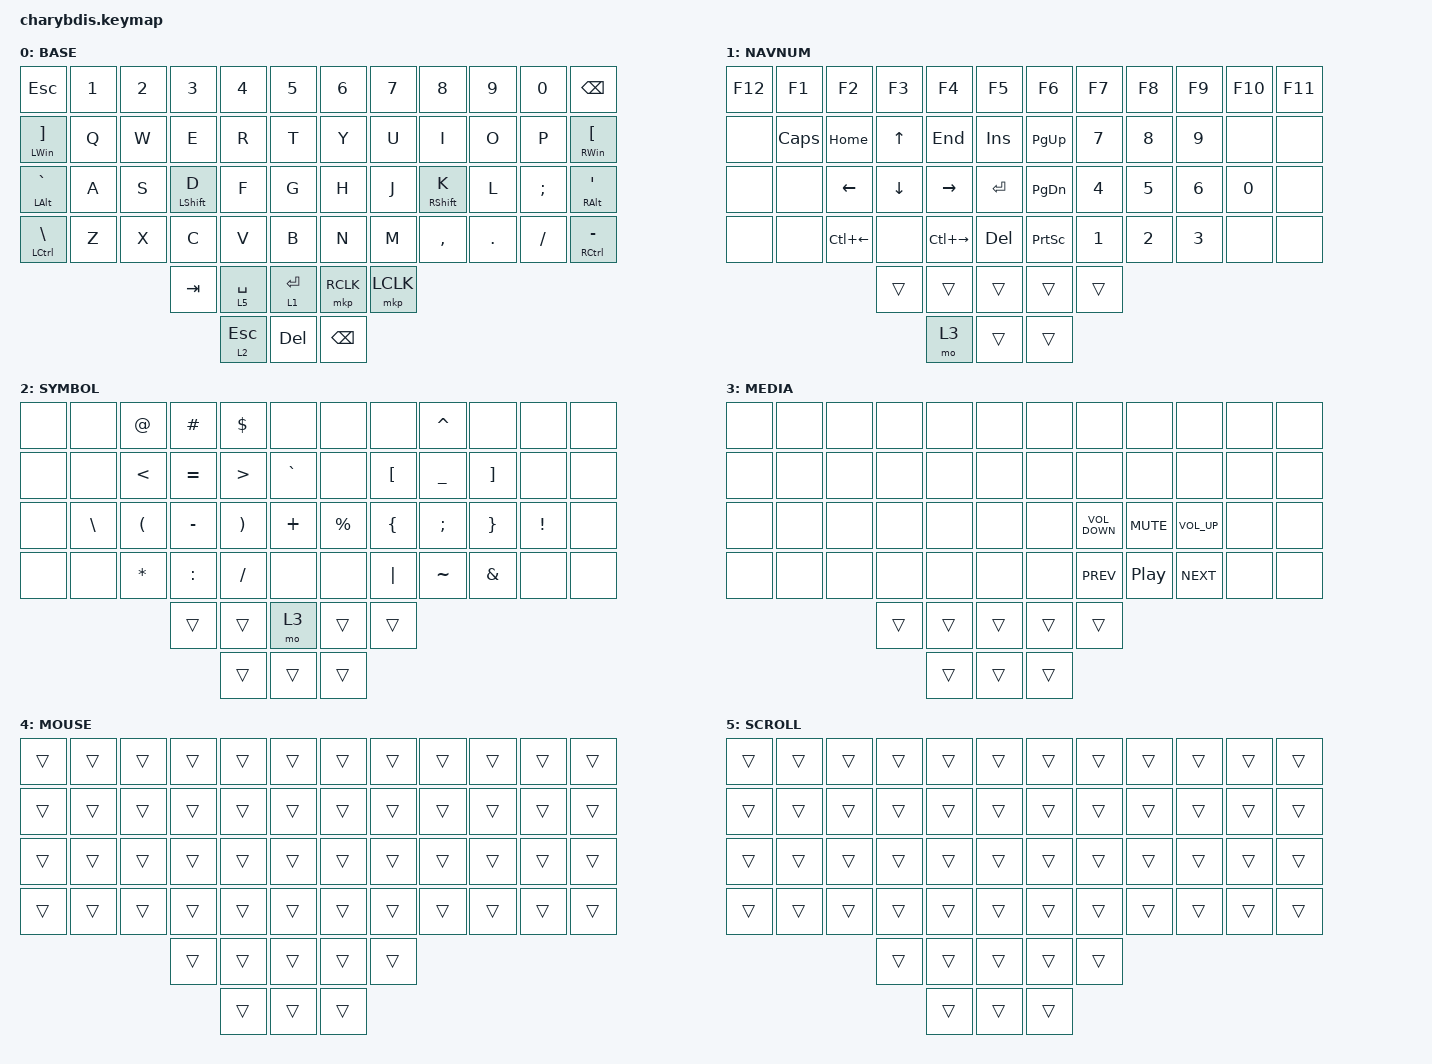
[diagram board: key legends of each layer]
#include <behaviors.dtsi>
#include <dt-bindings/zmk/keys.h>
#include <dt-bindings/zmk/pointing.h>

#define BASE 0
#define NAVNUM 1
#define SYMBOL 2
#define MEDIA 3
#define MOUSE 4
#define SCROLL 5
#define KEYS_L 0 1 2 3 4 10 11 12 13 14 20 21 22 23 24
#define KEYS_R 5 6 7 8 9 15 16 17 18 19 25 26 27 28 29
#define THUMBS 30 31 32 33 34 35
#define U_TAPPING_TERM 200

&sk {
    release-after-ms = <600>;
    quick-release;
};

&sl { ignore-modifiers; };

&mt { flavor = "tap-preferred"; };

&lt {
    flavor = "balanced";
    tapping-term-ms = <200>;
    quick-tap-ms = <175>;
};

&caps_word { /delete-property/ ignore-modifiers; };

/ {
    behaviors {
        u_mt: u_mt {
            compatible = "zmk,behavior-hold-tap";
            label = "u_mt";
            #binding-cells = <2>;
            tapping_term_ms = <U_TAPPING_TERM>;
            flavor = "tap-preferred";
            bindings = <&kp>, <&kp>;
        };

        u_lt: u_lt {
            compatible = "zmk,behavior-hold-tap";
            label = "u_lt";
            #binding-cells = <2>;
            tapping_term_ms = <U_TAPPING_TERM>;
            flavor = "tap-preferred";
            bindings = <&mo>, <&kp>;
        };

        Shift_Enter: Shift_Enter {
            compatible = "zmk,behavior-hold-tap";
            label = "SHIFT_ENTER";
            bindings = <&kp>, <&kp>;

            #binding-cells = <2>;
            hold-trigger-key-positions = <40>;
            tapping-term-ms = <100>;
        };

        hml: hml {
            compatible = "zmk,behavior-hold-tap";
            #binding-cells = <2>;
            flavor = "balanced";
            tapping-term-ms = <2000>;
            quick-tap-ms = <175>;
            require-prior-idle-ms = <250>;
            hold-trigger-key-positions = <KEYS_R THUMBS>;
            hold-trigger-on-release;
            bindings = <&kp>, <&kp>;
        };

        hmr: hmr {
            compatible = "zmk,behavior-hold-tap";
            #binding-cells = <2>;
            flavor = "balanced";
            tapping-term-ms = <2000>;
            quick-tap-ms = <175>;
            require-prior-idle-ms = <250>;
            hold-trigger-key-positions = <KEYS_L THUMBS>;
            hold-trigger-on-release;
            bindings = <&kp>, <&kp>;
        };

        smart_shift: smart_shift {
            compatible = "zmk,behavior-mod-morph";
            #binding-cells = <0>;
            bindings = <&sk LSHIFT>, <&caps_word>;

            mods = <(MOD_LSFT)>;
        };

        u_ltm: u_ltm {
            compatible = "zmk,behavior-hold-tap";
            label = "U_LTM";
            #binding-cells = <2>;
            tapping_term_ms = <U_TAPPING_TERM>;
            flavor = "tap-preferred";
            bindings = <&mo>, <&mkp>;
        };
    };

    combos {
        compatible = "zmk,combos";

        ParaLeft {
            bindings = <&kp LEFT_PARENTHESIS>;
            key-positions = <4 16>;
        };

        ParaRight {
            bindings = <&kp RIGHT_PARENTHESIS>;
            key-positions = <7 19>;
        };

        BrakLeft {
            bindings = <&kp LEFT_BRACKET>;
            key-positions = <3 15>;
        };

        BrakRight {
            bindings = <&kp RIGHT_BRACKET>;
            key-positions = <8 20>;
        };

        BraceLeft {
            bindings = <&kp LEFT_BRACE>;
            key-positions = <2 14>;
        };

        BraceRight {
            bindings = <&kp RIGHT_BRACE>;
            key-positions = <9 21>;
        };

        CapsWord {
            bindings = <&caps_word>;
            key-positions = <27 28 31 32>;
        };

        MiddleClick {
            bindings = <&mkp MCLK>;
            key-positions = <50 51>;
        };
    };

    chosen { zmk,physical-layout = &charybdis_6col_layout; };

    keymap {
        compatible = "zmk,keymap";

        BASE {
            display-name = "BASE";
            bindings = <
&kp ESC                      &kp NUMBER_1  &kp N2  &kp N3             &kp N4          &kp N5           &kp N6         &kp N7     &kp N8              &kp N9   &kp N0    &kp BACKSPACE
&hml LEFT_WIN RIGHT_BRACKET  &kp Q         &kp W   &kp E              &kp R           &kp T            &kp Y          &kp U      &kp I               &kp O    &kp P     &hmr RIGHT_WIN LEFT_BRACKET
&hmr LEFT_ALT GRAVE          &kp A         &kp S   &hml LEFT_SHIFT D  &kp F           &kp G            &kp H          &kp J      &hmr RIGHT_SHIFT K  &kp L    &kp SEMI  &hmr RIGHT_ALT SINGLE_QUOTE
&hml LCTRL BACKSLASH         &kp Z         &kp X   &kp C              &kp V           &kp B            &kp N          &kp M      &kp COMMA           &kp DOT  &kp FSLH  &hmr RCTRL MINUS
                                                   &kp TAB            &u_lt 5 SPACE   &u_lt 1 ENTER    &mkp RCLK      &mkp LCLK
                                                                      &u_lt 2 ESCAPE  &kp DELETE       &kp BACKSPACE
            >;
        };

        NAVNUM {
            display-name = "NAVNUM";
            bindings = <
&kp F12  &kp F1        &kp F2        &kp F3    &kp F4         &kp F5        &kp F6           &kp F7        &kp F8        &kp F9        &kp F10       &kp F11
&none    &kp CAPSLOCK  &kp HOME      &kp UP    &kp END        &kp INSERT    &kp PAGE_UP      &kp NUMBER_7  &kp NUMBER_8  &kp NUMBER_9  &none         &none
&none    &none         &kp LEFT      &kp DOWN  &kp RIGHT      &kp ENTER     &kp PAGE_DOWN    &kp NUMBER_4  &kp NUMBER_5  &kp NUMBER_6  &kp NUMBER_0  &none
&none    &none         &kp LC(LEFT)  &none     &kp LC(RIGHT)  &kp DELETE    &kp PRINTSCREEN  &kp NUMBER_1  &kp NUMBER_2  &kp NUMBER_3  &none         &none
                                     &trans    &trans         &trans        &trans           &trans
                                               &mo 3          &trans        &trans
            >;
        };

        SYMBOL {
            display-name = "SYMBOL";
            bindings = <
&none  &none          &kp AT_SIGN           &kp HASH   &kp DOLLAR             &none        &none        &none             &kp CARET       &none              &none            &none
&none  &none          &kp LESS_THAN         &kp EQUAL  &kp GREATER_THAN       &kp GRAVE    &none        &kp LEFT_BRACKET  &kp UNDERSCORE  &kp RIGHT_BRACKET  &none            &none
&none  &kp BACKSLASH  &kp LEFT_PARENTHESIS  &kp MINUS  &kp RIGHT_PARENTHESIS  &kp PLUS     &kp PERCENT  &kp LEFT_BRACE    &kp SEMICOLON   &kp RIGHT_BRACE    &kp EXCLAMATION  &none
&none  &none          &kp ASTERISK          &kp COLON  &kp SLASH              &none        &none        &kp PIPE          &kp TILDE       &kp AMPERSAND      &none            &none
                                            &trans     &trans                 &mo 3        &trans       &trans
                                                       &trans                 &trans       &trans
            >;
        };

        MEDIA {
            display-name = "MEDIA";
            bindings = <
&none  &none  &none  &none   &none   &none     &none   &none              &none             &none            &none  &none
&none  &none  &none  &none   &none   &none     &none   &none              &none             &none            &none  &none
&none  &none  &none  &none   &none   &none     &none   &kp C_VOLUME_DOWN  &kp C_MUTE        &kp C_VOLUME_UP  &none  &none
&none  &none  &none  &none   &none   &none     &none   &kp C_PREV         &kp C_PLAY_PAUSE  &kp C_NEXT       &none  &none
                     &trans  &trans  &trans    &trans  &trans
                             &trans  &trans    &trans
            >;
        };

        MOUSE {
            display-name = "MOUSE";
            bindings = <
&trans  &trans  &trans  &trans  &trans  &trans    &trans  &trans  &trans  &trans  &trans  &trans
&trans  &trans  &trans  &trans  &trans  &trans    &trans  &trans  &trans  &trans  &trans  &trans
&trans  &trans  &trans  &trans  &trans  &trans    &trans  &trans  &trans  &trans  &trans  &trans
&trans  &trans  &trans  &trans  &trans  &trans    &trans  &trans  &trans  &trans  &trans  &trans
                        &trans  &trans  &trans    &trans  &trans
                                &trans  &trans    &trans
            >;
        };

        SCROLL {
            display-name = "SCROLL";
            bindings = <
&trans  &trans  &trans  &trans  &trans  &trans    &trans  &trans  &trans  &trans  &trans  &trans
&trans  &trans  &trans  &trans  &trans  &trans    &trans  &trans  &trans  &trans  &trans  &trans
&trans  &trans  &trans  &trans  &trans  &trans    &trans  &trans  &trans  &trans  &trans  &trans
&trans  &trans  &trans  &trans  &trans  &trans    &trans  &trans  &trans  &trans  &trans  &trans
                        &trans  &trans  &trans    &trans  &trans
                                &trans  &trans    &trans
            >;
        };
    };
};
